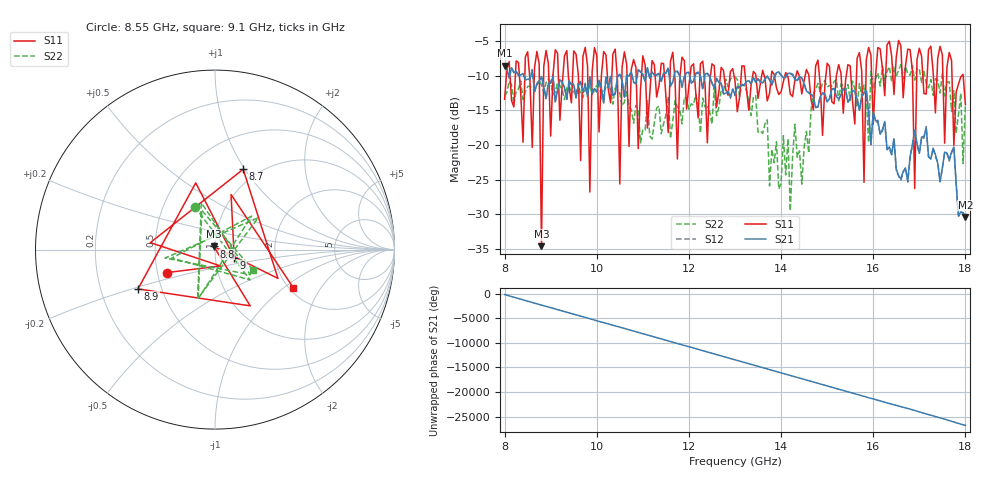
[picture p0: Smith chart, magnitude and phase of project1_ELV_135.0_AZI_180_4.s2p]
! 10/29/2026 4:44:38 PM
! C:\ANRITSUVNA\TEMP\TEMP.S2P
! CHANNEL.1
! TR.MEASUREMENT
! RAW.DATA
# HZ S RI R 50.0
! FREQ.HZ  S11RE  S11IM  S21RE  S21IM  S12RE  S12IM  S22RE  S22IM
!; PortSelection: Port_12
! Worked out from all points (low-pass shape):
!   201 points, 8 GHz to 18 GHz, reference 50 ohm
!   highest |S21| = -8.56 dB at 8 GHz (marker M1); lowest = -30.4 dB at 18 GHz (marker M2)
!   |S21| within 3 dB of the highest: 10.62 GHz to 11.85 GHz (1.223 GHz wide, 10.9 % of centre); 13.11 GHz to 14.52 GHz (1.415 GHz wide, 10.2 % of centre) (the widest 2 of 17)
!   lowest |S11| = -34.6 dB at 8.8 GHz (marker M3), VSWR 1.04, Z = 49.3 + j1.71 ohm
!   |S11| at or under -10 dB: 13.85 GHz to 14.08 GHz (227.5 MHz wide, 1.63 % of centre); 14.14 GHz to 14.32 GHz (183.6 MHz wide, 1.29 % of centre); 17.71 GHz to 17.92 GHz (213.4 MHz wide, 1.2 % of centre) (the widest 3 of 47)
!   |S22| runs from -29.5 to -8.4 dB; largest |S21 - S12| = 0.16
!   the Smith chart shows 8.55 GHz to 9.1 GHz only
!   S11 on the Smith chart (normalised r, x): 8.55 GHz: 0.57, -0.16; 8.7 GHz: 0.85, +0.98; 8.8 GHz: 0.99, +0.03; 8.9 GHz: 0.37, -0.21; 9 GHz: 1.23, -0.11; 9.1 GHz: 2.11, -1.18
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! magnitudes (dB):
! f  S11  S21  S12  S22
! 8 GHz  -13.4  -8.6  -8.6  -12.9
! 8.55 GHz  -10.6  -10.5  -10.5  -11.5
! 8.7 GHz  -6.5  -11.3  -11.2  -11.2
! 8.8 GHz  -34.6  -10.2  -10.1  -11.3
! 8.9 GHz  -6.3  -13.3  -13.2  -11.0
! 9 GHz  -18.7  -11.0  -11.1  -10.9
! 9.1 GHz  -6.3  -13.7  -14.0  -12.3
! 9.7 GHz  -7.2  -12.3  -12.4  -13.1
! 9.85 GHz  -26.8  -10.3  -10.1  -11.5
! 9.95 GHz  -5.9  -11.8  -11.9  -12.1
! 10.5 GHz  -25.6  -9.8  -9.7  -12.5
! 10.6 GHz  -6.6  -13.1  -13.2  -13.8
! 11.35 GHz  -11.5  -9.7  -9.8  -14.4
! 13 GHz  -10.8  -12.7  -12.9  -10.2
! 14.2 GHz  -12.6  -9.6  -9.8  -29.5
! 14.7 GHz  -15.0  -13.0  -13.2  -12.7
! 15.7 GHz  -6.7  -15.0  -14.9  -11.1
! 15.8 GHz  -25.4  -12.4  -12.5  -11.3
! 16.35 GHz  -5.0  -20.3  -20.5  -8.7
! 16.9 GHz  -26.3  -17.8  -17.8  -10.6
! 17 GHz  -6.0  -21.2  -21.2  -9.0
! 18 GHz  -14.1  -30.4  -30.6  -14.1
